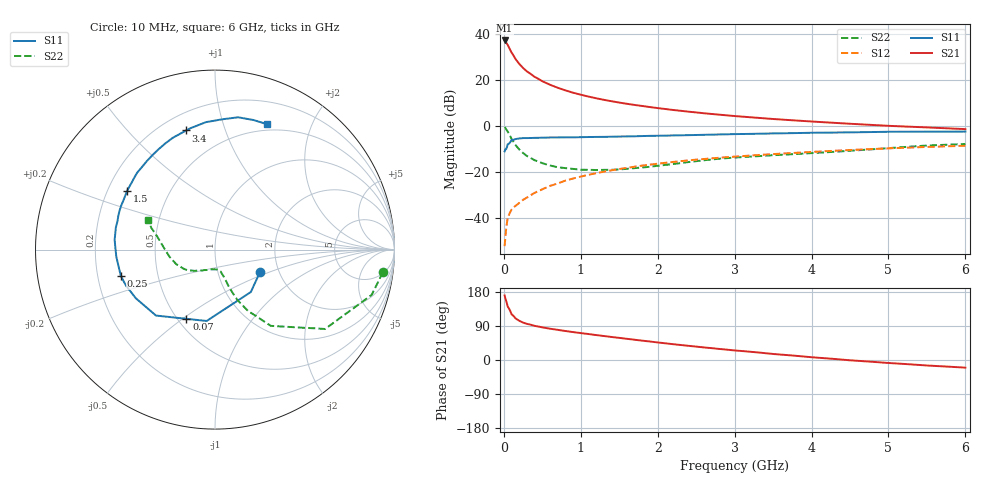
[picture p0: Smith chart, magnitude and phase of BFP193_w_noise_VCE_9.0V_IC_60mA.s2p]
! Infineon Technologies  Discrete & RF Semiconductors
! BFP193
! VCE =  9.0 V,  IC =  60 mA
! Common Emitter S-Parameters:  Jan 2017
# GHz  S  MA  R  50
!  f  S11  S21  S12  S22
! GHz  MAG  ANG  MAG  ANG  MAG  ANG  MAG  ANG
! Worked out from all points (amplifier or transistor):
!   77 points, 10 MHz to 6 GHz, reference 50 ohm
!   highest |S21| = 37.3 dB at 10 MHz (marker M1)
!   |S21| within 3 dB of that: start of sweep to 66.29 MHz
!   unconditionally stable (mu >= 1): 567.2 MHz to 2.391 GHz
!   at 130 MHz: K = 0.60, MSG = 33.0 dB, |S12| = -35.4 dB
!   at 2.2 GHz: K = 1.01, MAG = 10.7 dB, |S12| = -15.7 dB
!   at 6 GHz: K = 0.90, MSG = 3.6 dB, |S12| = -8.6 dB
!   lowest NFmin = 1.67 dB at 450 MHz
!   S11 on the Smith chart (normalised r, x): 10 MHz: 1.60, -0.43; 70 MHz: 0.55, -0.52; 250 MHz: 0.30, -0.13; 1.5 GHz: 0.28, +0.28; 3.4 GHz: 0.30, +0.74; 6 GHz: 0.43, +1.41
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0.01  0.2802 -25.9  73.21 170.4  0.0024 84.9  0.9437 -7.7
0.02  0.3094 -49.8  71.39 162.3  0.0038 81.9  0.9087 -16.1
0.05  0.4004 -96.7  58.42 141.1  0.0098 61.7  0.7563 -35.8
0.07  0.4173 -112.5  50.41 134.7  0.0119 61.6  0.6573 -41.5
0.1  0.493 -131.8  40.11 120.7  0.015 61.6  0.5264 -53.8
0.15  0.5177 -148.4  29.1 110.1  0.0181 57.7  0.388 -61.7
0.2  0.5347 -157.8  22.62 103.5  0.021 59.7  0.3085 -66.0
0.25  0.5448 -164.3  18.41 98.7  0.0246 62.4  0.2579 -67.9
0.3  0.5449 -169.1  15.47 95.4  0.0275 64.0  0.222 -69.5
0.4  0.5513 -176.0  11.78 90.1  0.0348 66.6  0.1794 -70.8
0.5  0.5555 178.7  9.468 86.1  0.0417 67.5  0.1547 -72.4
0.6  0.5618 174.4  7.937 82.6  0.0494 68.0  0.1377 -74.2
0.7  0.5628 170.9  6.816 79.6  0.0558 68.4  0.1261 -75.5
0.9  0.5658 163.8  5.316 73.7  0.0716 67.9  0.116 -80.7
1.1  0.5746 157.7  4.38 68.5  0.0861 66.5  0.1107 -86.5
1.5  0.5891 146.2  3.239 58.4  0.1154 63.0  0.1129 -101.9
2.1  0.6164 130.3  2.343 44.1  0.1576 55.9  0.1417 -125.0
3.1  0.6689 109.0  1.6 23.6  0.2206 43.7  0.2097 -151.2
3.4  0.6829 103.6  1.463 18.0  0.2381 40.3  0.2252 -157.6
4.1  0.714 92.6  1.224 5.8  0.2774 32.1  0.2619 -173.7
5.1  0.7485 78.8  0.992 -9.1  0.3298 20.7  0.338 166.0
6  0.7565 67.5  0.855 -20.2  0.3713 10.5  0.4051 156.2
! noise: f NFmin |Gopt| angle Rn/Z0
0.45  1.67  0.48  -170  0.1
0.9  1.73  0.49  -163  0.1
1.9  2.41  0.62  -131  0.27
2.4  2.75  0.65  -118  0.56
